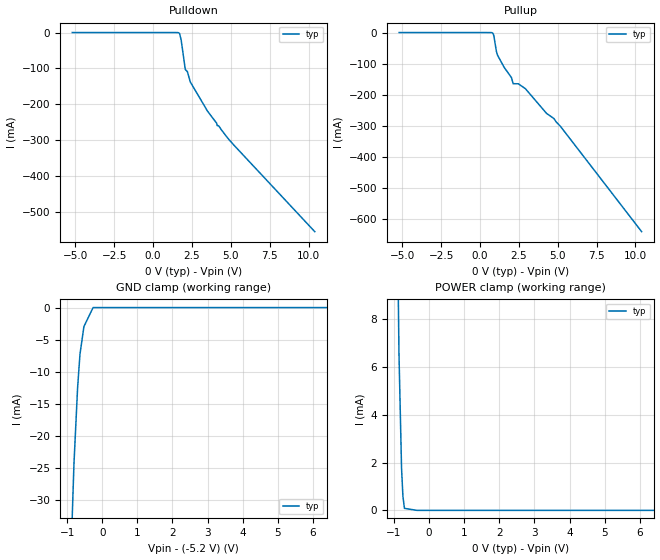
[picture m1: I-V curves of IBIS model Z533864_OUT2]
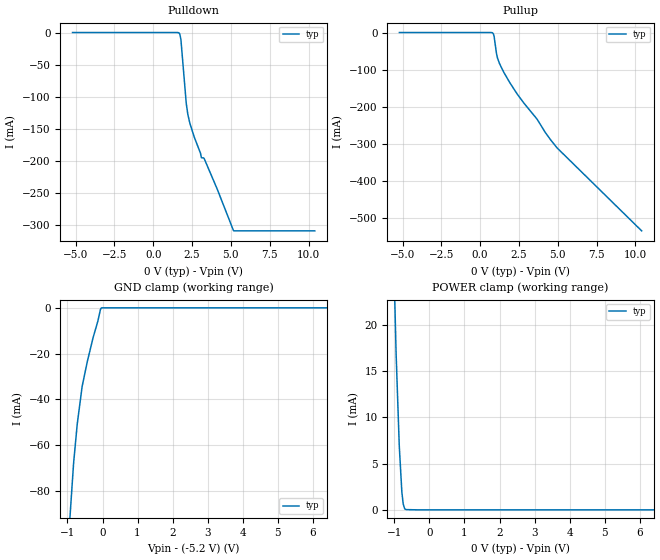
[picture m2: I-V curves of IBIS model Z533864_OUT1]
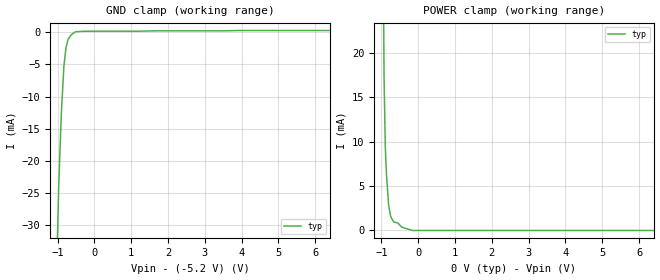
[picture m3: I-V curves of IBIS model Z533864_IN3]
| YOU ARE ONLY AUTHORIZED TO USE THIS SOFTWARE
| ACCORDING TO LICENSOR'S LICENSE RESTRICTIONS.
[IBIS Ver] 3.1
[File Name] mc100el15d_-52.ibs
[File Rev] 1
[Source] Derived from mc10el15d.ibs and mc100el13dw.ibs
|   Measured and created by ICX Technology
[Date] 9/25/2002
[Copyright]
| (C) COPYRIGHT 1993-2000
| MENTOR GRAPHICS CORPORATION
| ICX STANDARD LIBRARY, ICX PROJECT MODELING,
| ICX CUSTOM MODELING, ICX VENDOR MODEL
| ALL RIGHTS RESERVED.
| THE FOLLOWING ARE TRADEMARKS OR SERVICE MARKS OF
| MENTOR GRAPHICS CORPORATION:ICX (R), ICX STANDARD
| LIBRARY(R), ICX PROJECT MODELING(R), ICX CUSTOM
| MODELING(R), qualityIBIS(TM), MODELVIEWER(TM),
| AND MODELEDITOR(TM)
| ALL COPIES OF SOFTWARE, INCLUDING BUT NOT LIMITED TO
| ANY MODIFICATIONS, ENHANCEMENTS OR DERIVATIVE WORKS,
| MUST CONTAIN ALL MENTOR GRAPHICS CORPORATION'S
| NOTICES AND LEGENDS, INCLUDING THOSE EMBEDDED IN
| SOFTWARE AND THOSE AFFIXED TO SOFTWARE MEDIUM
| AND CONTAINER, AS RECEIVED FROM MENTOR GRAPHICS
| CORPORATION.
|  ZAP Model Builder 2.7
[Component] MC100EL15D_-52
[Manufacturer] OnSemiconductor
[Package]
| variable   typ   min   max
R_pkg  .156ohms NA NA
L_pkg  3.148nH NA NA
C_pkg  .388pF NA NA
[Pin] signal_name  model_name  R_pin  L_pin C_pin
1 Q0 Z533864_OUT2 .162 3.8n .42p
2 _Q0 Z533864_OUT1 .166 4.25n .44p
3 Q1 Z533864_OUT2 .162 3.8n .42p
4 _Q1 Z533864_OUT1 .166 4.25n .44p
5 Q2 Z533864_OUT2 .162 3.8n .42p
6 _Q2 Z533864_OUT1 .166 4.25n .44p
7 Q3 Z533864_OUT2 .162 3.8n .42p
8 _Q3 Z533864_OUT1 .166 4.25n .44p
9 VEE GND .166 4.25n .44p
10 SEL Z533864_IN3 .154 2.93n .38p
11 VEE GND .166 4.25n .44p
12 _CLK Z533864_IN4 .15 2.51n .36p
13 CLK Z533864_IN3 .154 2.93n .38p
14 SCLK Z533864_IN3 .154 2.93n .38p
15 _EN Z533864_IN3 .154 2.93n .38p
16 VCC POWER .158 3.36n .4p
| Models and submodels in the file (4): Z533864_OUT2 (Output_ECL), Z533864_OUT1 (Output_ECL), Z533864_IN3 (Input_ECL), Z533864_IN4 (Input_ECL)
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| (C) COPYRIGHT 1993-2000
| MENTOR GRAPHICS CORPORATION
| ICX STANDARD LIBRARY, ICX PROJECT MODELING,
| ICX CUSTOM MODELING, ICX VENDOR MODEL
| ALL RIGHTS RESERVED.
| THE FOLLOWING ARE TRADEMARKS OR SERVICE MARKS OF
| MENTOR GRAPHICS CORPORATION:ICX (R), ICX STANDARD
| LIBRARY(R), ICX PROJECT MODELING(R), ICX CUSTOM
| MODELING(R), qualityIBIS(TM), MODELVIEWER(TM),
| AND MODELEDITOR(TM)
| ALL COPIES OF SOFTWARE, INCLUDING BUT NOT LIMITED TO
| ANY MODIFICATIONS, ENHANCEMENTS OR DERIVATIVE WORKS,
| MUST CONTAIN ALL MENTOR GRAPHICS CORPORATION'S
| NOTICES AND LEGENDS, INCLUDING THOSE EMBEDDED IN
| SOFTWARE AND THOSE AFFIXED TO SOFTWARE MEDIUM
| AND CONTAINER, AS RECEIVED FROM MENTOR GRAPHICS
| CORPORATION.
| Model Application Version 1.89 2/18/99.
[Model] Z533864_OUT2
Model_type Output_ECL
Vref=-2.000V
Rref=50.00ohms
Cref=0.000F
Vmeas=-1.320V
C_comp 2.000pF NA NA
| variable typ   min   max
[Voltage Range] -5.200V NA NA
[POWER Clamp Reference] 0.000V NA NA
[Pullup Reference] 0.000V NA NA
[Pulldown Reference] 0.000V NA NA
[GND Clamp Reference] -5.200V NA NA
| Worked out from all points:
|   POWER clamp passes 1 mA (typ) near -0.76 V on its own axis
[GND Clamp]
-5.2V     -755mA     NA         NA
-806mV    -24.33mA   NA         NA
-703mV    -12.51mA   NA         NA
-635mV    -7.264mA   NA         NA
-523mV    -2.964mA   NA         NA
-261.5mV  0A         NA         NA
10.4V     0A         NA         NA
[Pulldown]
-5.2V     224.3uA    NA         NA
1.704V    -2.535mA   NA         NA
1.806V    -20.56mA   NA         NA
2.07V     -102.8mA   NA         NA
2.206V    -109mA     NA         NA
2.393V    -137.7mA   NA         NA
3.503V    -219.3mA   NA         NA
4.087V    -252.8mA   NA         NA
4.123V    -259.6mA   NA         NA
4.238V    -261.3mA   NA         NA
5.117V    -310.2mA   NA         NA
10.4V     -555.5mA   NA         NA
[Pullup]
-5.2V     182.2uA    NA         NA
808.8mV   -1.142mA   NA         NA
894.9mV   -10.84mA   NA         NA
1.059V    -61.04mA   NA         NA
1.128V    -72.62mA   NA         NA
2.026V    -144.8mA   NA         NA
2.132V    -164.5mA   NA         NA
2.466V    -164.7mA   NA         NA
2.927V    -180.8mA   NA         NA
4.285V    -260.2mA   NA         NA
4.756V    -276.5mA   NA         NA
10.4V     -640.6mA   NA         NA
[POWER Clamp]
-5.2V     1.138A     NA         NA
-1.611V   250mA      NA         NA
-1.538V   224.4mA    NA         NA
-1.27V    107.9mA    NA         NA
-1.113V   51.14mA    NA         NA
-1.001V   24.3mA     NA         NA
-859.3mV  6.524mA    NA         NA
-786mV    1.757mA    NA         NA
-747.3mV  590.9uA    NA         NA
-703.6mV  84.4uA     NA         NA
-351.8mV  0A         NA         NA
10.4V     0A         NA         NA
[Ramp]
| variable typ min max
dV/dt_r 475.1m/582.0p NA NA
dV/dt_f 475.1m/766.9p NA NA
R_load = 50.00Ohms
| (C) COPYRIGHT 1993-2000
| MENTOR GRAPHICS CORPORATION
| ICX STANDARD LIBRARY, ICX PROJECT MODELING,
| ICX CUSTOM MODELING, ICX VENDOR MODEL
| ALL RIGHTS RESERVED.
| THE FOLLOWING ARE TRADEMARKS OR SERVICE MARKS OF
| MENTOR GRAPHICS CORPORATION:ICX (R), ICX STANDARD
| LIBRARY(R), ICX PROJECT MODELING(R), ICX CUSTOM
| MODELING(R), qualityIBIS(TM), MODELVIEWER(TM),
| AND MODELEDITOR(TM)
| ALL COPIES OF SOFTWARE, INCLUDING BUT NOT LIMITED TO
| ANY MODIFICATIONS, ENHANCEMENTS OR DERIVATIVE WORKS,
| MUST CONTAIN ALL MENTOR GRAPHICS CORPORATION'S
| NOTICES AND LEGENDS, INCLUDING THOSE EMBEDDED IN
| SOFTWARE AND THOSE AFFIXED TO SOFTWARE MEDIUM
| AND CONTAINER, AS RECEIVED FROM MENTOR GRAPHICS
| CORPORATION.
| Model Application Version 1.89 2/18/99.
[Model] Z533864_OUT1
Model_type Output_ECL
Vref=-2.000V
Rref=50.00ohms
Cref=0.000F
Vmeas=-1.320V
C_comp 2.000pF NA NA
| variable typ   min   max
[Voltage Range] -5.200V NA NA
[POWER Clamp Reference] 0.000V NA NA
[Pullup Reference] 0.000V NA NA
[Pulldown Reference] 0.000V NA NA
[GND Clamp Reference] -5.200V NA NA
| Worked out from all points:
|   GND clamp passes 1 mA (typ) near -0.06 V on its own axis
|   POWER clamp passes 1 mA (typ) near -0.76 V on its own axis
[GND Clamp]
-5.2V     -1.065A    NA         NA
-825mV    -68mA      NA         NA
-722mV    -51mA      NA         NA
-581mV    -34.4mA    NA         NA
-435mV    -23.6mA    NA         NA
-268mV    -13mA      NA         NA
-132mV    -5.8mA     NA         NA
-62mV     -900uA     NA         NA
-43mV     -200uA     NA         NA
-21.5mV   0A         NA         NA
10.4V     0A         NA         NA
[Pulldown]
-5.2V     230.2uA    NA         NA
1.646V    -301.8uA   NA         NA
1.704V    -1.99mA    NA         NA
1.777V    -10.37mA   NA         NA
2.124V    -110.6mA   NA         NA
2.224V    -127.4mA   NA         NA
2.35V     -140.8mA   NA         NA
3.037V    -187.8mA   NA         NA
3.101V    -195.1mA   NA         NA
3.306V    -198mA     NA         NA
5.161V    -308.5mA   NA         NA
10.4V     -309.1mA   NA         NA
[Pullup]
-5.2V     174.2uA    NA         NA
808.8mV   -1.075mA   NA         NA
897mV     -10.17mA   NA         NA
1.045V    -54.86mA   NA         NA
1.113V    -68.41mA   NA         NA
1.252V    -84.12mA   NA         NA
1.529V    -107.6mA   NA         NA
2.363V    -164.3mA   NA         NA
3.667V    -233.4mA   NA         NA
4.541V    -289.3mA   NA         NA
4.957V    -310.9mA   NA         NA
10.4V     -534.3mA   NA         NA
[POWER Clamp]
-5.2V     1.157A     NA         NA
-1.035V   29.93mA    NA         NA
-948.8mV  16.81mA    NA         NA
-859.3mV  6.923mA    NA         NA
-785.9mV  1.946mA    NA         NA
-747.2mV  639.9uA    NA         NA
-703.8mV  107.1uA    NA         NA
-665mV    25.4uA     NA         NA
10.4V     0A         NA         NA
[Ramp]
| variable typ min max
dV/dt_r 479.5m/477.1p NA NA
dV/dt_f 479.5m/956.9p NA NA
R_load = 50.00Ohms
| (C) COPYRIGHT 1993-2000
| MENTOR GRAPHICS CORPORATION
| ICX STANDARD LIBRARY, ICX PROJECT MODELING,
| ICX CUSTOM MODELING, ICX VENDOR MODEL
| ALL RIGHTS RESERVED.
| THE FOLLOWING ARE TRADEMARKS OR SERVICE MARKS OF
| MENTOR GRAPHICS CORPORATION:ICX (R), ICX STANDARD
| LIBRARY(R), ICX PROJECT MODELING(R), ICX CUSTOM
| MODELING(R), qualityIBIS(TM), MODELVIEWER(TM),
| AND MODELEDITOR(TM)
| ALL COPIES OF SOFTWARE, INCLUDING BUT NOT LIMITED TO
| ANY MODIFICATIONS, ENHANCEMENTS OR DERIVATIVE WORKS,
| MUST CONTAIN ALL MENTOR GRAPHICS CORPORATION'S
| NOTICES AND LEGENDS, INCLUDING THOSE EMBEDDED IN
| SOFTWARE AND THOSE AFFIXED TO SOFTWARE MEDIUM
| AND CONTAINER, AS RECEIVED FROM MENTOR GRAPHICS
| CORPORATION.
| Model Application Version 1.89 2/18/99.
[Model] Z533864_IN3
Model_type Input_ECL
Vinl = -1.475V
Vinh = -1.165V
C_comp 2.000pF NA NA
| variable typ   min   max
[Voltage Range] -5.200V NA NA
[GND Clamp Reference] -5.200V NA NA
[POWER Clamp Reference] 0.000V NA NA
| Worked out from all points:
|   GND clamp passes 1 mA (typ) near -0.70 V on its own axis
|   POWER clamp passes 1 mA (typ) near -0.67 V on its own axis
[GND Clamp]
-5.2V     -131.4mA   NA         NA
-1.222V   -82.1mA    NA         NA
-970mV    -23.72mA   NA         NA
-899mV    -12.63mA   NA         NA
-830mV    -5.292mA   NA         NA
-773mV    -2.365mA   NA         NA
-713mV    -1.065mA   NA         NA
-615mV    -324.6uA   NA         NA
-513mV    74.95uA    NA         NA
3.914V    264.2uA    NA         NA
10.4V     264.2uA    NA         NA
[POWER Clamp]
-5.2V     837.8mA    NA         NA
-1.079V   117.1mA    NA         NA
-927.7mV  17.33mA    NA         NA
-893.7mV  9.416mA    NA         NA
-859.4mV  6.128mA    NA         NA
-803.6mV  2.884mA    NA         NA
-747.1mV  1.559mA    NA         NA
-664.1mV  952.8uA    NA         NA
-548.2mV  833.8uA    NA         NA
-448mV    375.3uA    NA         NA
-153.4mV  0A         NA         NA
10.4V     0A         NA         NA
